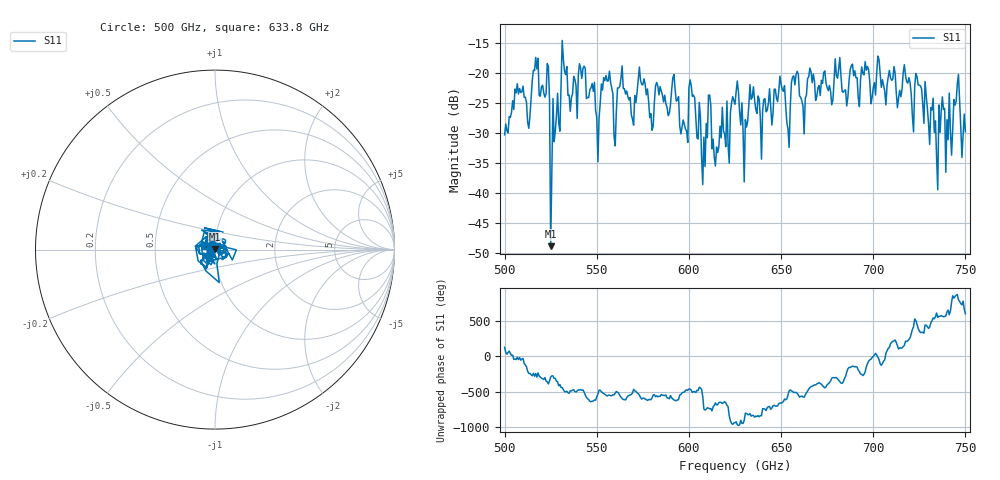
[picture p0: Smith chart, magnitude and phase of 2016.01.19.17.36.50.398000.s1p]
!Created with skrf (http://scikit-rf.org).
# GHz S RI R 50.0
!freq ReS11 ImS11
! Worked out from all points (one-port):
!   401 points, 500 GHz to 750 GHz, reference 50 ohm
!   lowest |S11| = -48.9 dB at 525 GHz (marker M1), VSWR 1.01, Z = 50.2 + j0.327 ohm
!   |S11| at or under -10 dB: start of sweep to end of sweep
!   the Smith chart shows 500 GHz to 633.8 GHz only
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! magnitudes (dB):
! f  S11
! 500 GHz  -30.3
! 506.9 GHz  -21.8
! 513.1 GHz  -29.3
! 516.9 GHz  -17.5
! 523.1 GHz  -18.5
! 525 GHz  -48.9
! 526.2 GHz  -24.3
! 531.2 GHz  -14.6
! 542.5 GHz  -19.3
! 550.6 GHz  -34.8
! 562.5 GHz  -22.3
! 593.8 GHz  -24.6
! 598.1 GHz  -29.4
! 601.9 GHz  -23.9
! 608.1 GHz  -30.7
! 610.6 GHz  -23.7
! 615 GHz  -32.4
! 625 GHz  -25.3
! 630.6 GHz  -27.8
! 633.8 GHz  -24.4
! 650.6 GHz  -22.8
! 653.8 GHz  -29.4
! 656.2 GHz  -20.7
! 687.5 GHz  -19.5
! 718.8 GHz  -21.7
! 734.4 GHz  -34.1
! 745 GHz  -24.7
! 750 GHz  -29.8
